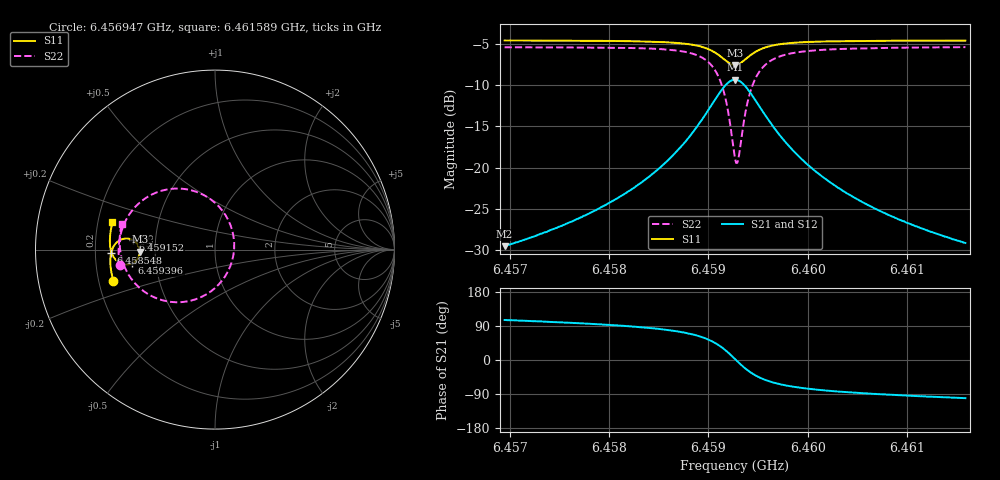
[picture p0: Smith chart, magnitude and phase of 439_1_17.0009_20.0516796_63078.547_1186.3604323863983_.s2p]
#  HZ  S  RI  R  50.00
! Rohde & Schwarz Vector Network Analyzer
! Rohde-Schwarz,ZNB20-2Port,1311601062101988,3.16
! Created: UTC 3/20/2024, 11:11:46 PM
! freq[Hz]  re:S11  im:S11  re:S21  im:S21  re:S12  im:S12  re:S22  im:S22
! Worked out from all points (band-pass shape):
!   401 points, 6.456947 GHz to 6.461589 GHz, reference 50 ohm
!   highest |S21| = -9.31 dB at 6.459268 GHz (marker M1); lowest = -29.5 dB at 6.456947 GHz (marker M2)
!   |S21| within 3 dB of the highest: 6.459036 GHz to 6.4595 GHz (463.7 kHz wide, 0.00718 % of centre)
!   lowest |S11| = -7.5 dB at 6.459268 GHz (marker M3), VSWR 2.45, Z = 20.4 - j0.527 ohm
!   |S11| at or under -10 dB: nowhere
!   |S22| runs from -19.4 to -5.4 dB; largest |S21 - S12| = 0.013
!   S11 on the Smith chart (normalised r, x): 6.456947 GHz: 0.26, -0.14; 6.458548 GHz: 0.27, -0.01; 6.459152 GHz: 0.37, +0.05; 6.459396 GHz: 0.37, -0.07; 6.461589 GHz: 0.26, +0.12
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6.4569466e9  -0.5661 -0.1744  -0.00896 0.0321  -0.00724 0.032  -0.5309 -0.0874
6.4577243e9  -0.5805 -0.1067  -0.00577 0.0497  -0.00323 0.0494  -0.5368 0.00275
6.4581537e9  -0.5836 -0.0639  0.000134 0.0692  0.0033 0.0678  -0.529 0.0701
6.4585019e9  -0.5799 -0.0225  0.0138 0.0977  0.0177 0.0951  -0.5043 0.1477
6.4585483e9  -0.5784 -0.0162  0.0172 0.1032  0.0211 0.1002  -0.4981 0.1609
6.4587573e9  -0.5664 0.0155  0.0429 0.1347  0.047 0.1299  -0.4496 0.232
6.4589082e9  -0.5454 0.0419  0.0851 0.1648  0.0885 0.1583  -0.3719 0.2962
6.459059e9  -0.4996 0.0615  0.1763 0.1836  0.1772 0.1764  -0.2056 0.3402
6.4591519e9  -0.4554 0.0515  0.2654 0.1532  0.2657 0.1473  -0.0405 0.291
6.4591983e9  -0.4344 0.033  0.3087 0.1108  0.31 0.1054  0.042 0.2157
6.459268e9  -0.4196 -0.0106  0.342 0.0148  0.3455 0.00797  0.1069 0.0378
6.4592796e9  -0.42 -0.0186  0.3418 -0.0028  0.3455 -0.0103  0.1067 0.00443
6.4593028e9  -0.4235 -0.0341  0.3363 -0.0371  0.3401 -0.0463  0.0957 -0.0607
6.4593956e9  -0.4607 -0.076  0.2667 -0.1373  0.2658 -0.1505  -0.0449 -0.2474
6.4594421e9  -0.4835 -0.0827  0.2227 -0.1598  0.2188 -0.1725  -0.1331 -0.2841
6.4595001e9  -0.5083 -0.082  0.1736 -0.169  0.1672 -0.18  -0.2295 -0.2927
6.459651e9  -0.5493 -0.0601  0.0911 -0.1529  0.0828 -0.1587  -0.3863 -0.2396
6.4598135e9  -0.5695 -0.0326  0.049 -0.1257  0.0414 -0.1281  -0.4617 -0.1688
6.4600456e9  -0.5811 0.00112  0.0223 -0.0961  0.0164 -0.0968  -0.5056 -0.0916
6.4603822e9  -0.5855 0.041  0.00657 -0.0704  0.00249 -0.07  -0.5266 -0.015
6.4608232e9  -0.5836 0.0851  -0.00142 -0.0514  -0.00416 -0.0505  -0.5312 0.0552
6.4615893e9  -0.5712 0.1528  -0.00646 -0.0342  -0.00815 -0.0333  -0.5197 0.1448
